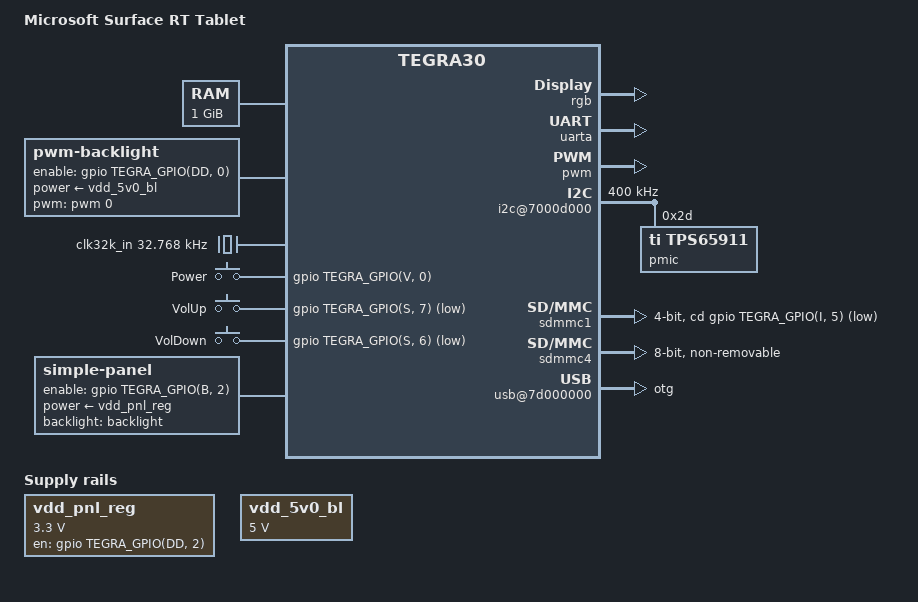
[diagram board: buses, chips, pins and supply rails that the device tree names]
/dts-v1/;

#include "tegra30.dtsi"

#include <dt-bindings/input/gpio-keys.h>
#include <dt-bindings/input/linux-event-codes.h>

/ {
	model = "Microsoft Surface RT Tablet";
	compatible = "microsoft,surface-rt", "nvidia,tegra30";

	chosen {
		stdout-path = &uarta;
	};

	aliases {
		mmc0 = &sdmmc4;	/* eMMC */
		mmc1 = &sdmmc1; /* uSD slot */

		rtc0 = &pmic;
		rtc1 = "/rtc@7000e000";

		usb0 = "/usb@7d000000";
	};

	memory {
		device_type = "memory";
		reg = <0x80000000 0x40000000>;
	};

	host1x@50000000 {
		//status = "okay";
		dc@54200000 {
			//status = "okay";
			rgb {
				status = "okay";

				nvidia,panel = <&panel>;

				display-timings {
					timing@0 {
						/* 1366x768@60Hz */
						clock-frequency = <71980000>;

						hactive = <1366>;
						vactive = <768>;

						hfront-porch = <56>;
						hsync-len = <14>;
						hback-porch = <106>;

						vfront-porch = <3>;
						vsync-len = <1>;
						vback-porch = <6>;
					};
				};
			};
		};
	};

	uarta: serial@70006000 {
		status = "okay";
	};

	pwm: pwm@7000a000 {
		status = "okay";
	};

	i2c@7000d000 {
		status = "okay";
		clock-frequency = <400000>;

		/* Texas Instruments TPS659110 PMIC */
		pmic: tps65911@2d {
			compatible = "ti,tps65911";
			reg = <0x2d>;

			interrupts = <GIC_SPI 86 IRQ_TYPE_LEVEL_HIGH>;
			#interrupt-cells = <2>;
			interrupt-controller;

			ti,system-power-controller;

			#gpio-cells = <2>;
			gpio-controller;

			regulators {

			};
		};
	};

	sdmmc1: sdhci@78000000 {
		status = "okay";
		bus-width = <4>;

		cd-gpios = <&gpio TEGRA_GPIO(I, 5) GPIO_ACTIVE_LOW>;
		power-gpios = <&gpio TEGRA_GPIO(D, 7) GPIO_ACTIVE_HIGH>;

	};

	sdmmc4: sdhci@78000600 {
		status = "okay";
		bus-width = <8>;
		non-removable;
	};

	usb@7d000000 {
		status = "okay";
		dr_mode = "otg";
		nvidia,vbus-gpio = <&gpio TEGRA_GPIO(DD, 6) GPIO_ACTIVE_HIGH>;
	};

	backlight: backlight {
		compatible = "pwm-backlight";

		enable-gpios = <&gpio TEGRA_GPIO(DD, 0) GPIO_ACTIVE_HIGH>;
		power-supply = <&vdd_5v0_bl>;
		pwms = <&pwm 0 50000>;

		brightness-levels = <16 255>;
		default-brightness-level = <128>;
	};

	clocks {
		compatible = "simple-bus";
		#address-cells = <1>;
		#size-cells = <0>;

		clk32k_in: clock@0 {
			compatible = "fixed-clock";
			reg=<0>;
			#clock-cells = <0>;
			clock-frequency = <32768>;
		};
	};

	gpio-keys {
		compatible = "gpio-keys";
		interrupt-parent = <&gpio>;

		power {
			label = "Power";
			gpios = <&gpio TEGRA_GPIO(V, 0) GPIO_ACTIVE_HIGH>;
		};

		volume-up {
			label = "VolUp";
			gpios = <&gpio TEGRA_GPIO(S, 7) GPIO_ACTIVE_LOW>;
		};

		volume-down {
			label = "VolDown";
			gpios = <&gpio TEGRA_GPIO(S, 6) GPIO_ACTIVE_LOW>;
		};
	};
	
	gpio-keyboard {
		compatible = "gpio-kbd";

		power {
			label = "Power";
			gpios = <&gpio TEGRA_GPIO(V, 0) GPIO_ACTIVE_HIGH>;
			linux,code = <KEY_CANCEL>;
		};

		volume-up {
			label = "Volume Up";
			gpios = <&gpio TEGRA_GPIO(S, 7) GPIO_ACTIVE_LOW>;
			linux,code = <KEY_UP>;
		};

		volume-down {
			label = "Volume Down";
			gpios = <&gpio TEGRA_GPIO(S, 6) GPIO_ACTIVE_LOW>;
			linux,code = <KEY_DOWN>;
		};

		windows-button {
			label = "Windows Button";
			gpios = <&gpio TEGRA_GPIO(S, 5) GPIO_ACTIVE_HIGH>;
			linux,code = <KEY_ENTER>;
               };
	};

	panel: panel {
		compatible = "simple-panel";

		power-supply = <&vdd_pnl_reg>;
		enable-gpios = <&gpio TEGRA_GPIO(B, 2) GPIO_ACTIVE_HIGH>;

		backlight = <&backlight>;
	};

	regulators {
		compatible = "simple-bus";
		#address-cells = <1>;
		#size-cells = <0>;

		vdd_pnl_reg: regulator@0 {
			compatible = "regulator-fixed";
			reg = <0>;
			regulator-name = "vdd_panel";
			regulator-min-microvolt = <3300000>;
			regulator-max-microvolt = <3300000>;
			gpio = <&gpio TEGRA_GPIO(DD, 2) GPIO_ACTIVE_HIGH>;
			enable-active-high;
		};

		vdd_5v0_bl: regulator@1 {
			compatible = "regulator-fixed";
			reg = <1>;
			regulator-name = "vdd_5v0_bl";
			regulator-min-microvolt = <5000000>;
			regulator-max-microvolt = <5000000>;
			enable-active-high;
		};
	};
};
